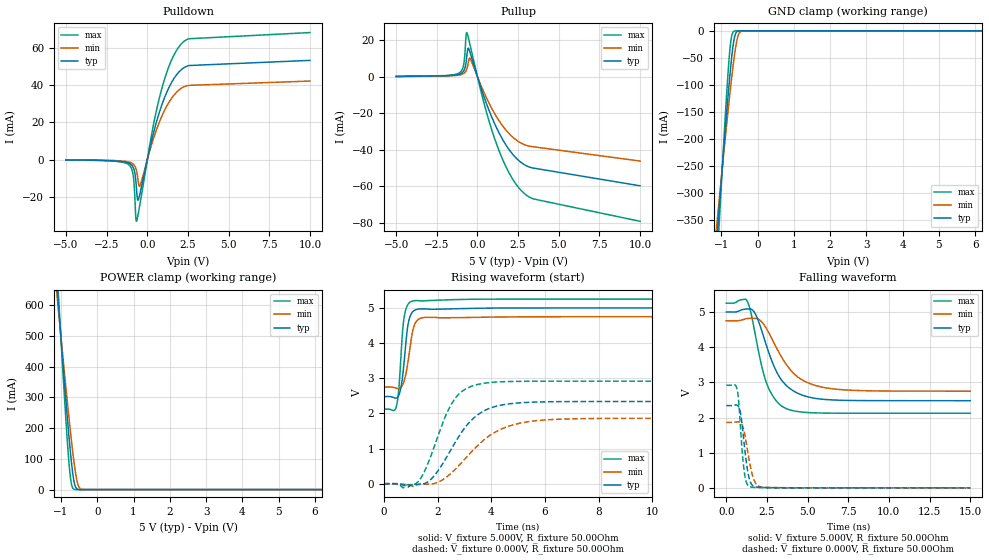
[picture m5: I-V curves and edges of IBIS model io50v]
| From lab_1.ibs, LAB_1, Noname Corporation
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[Model]   io50v
Model_type   I/O
Vinl = 800.000mV
Vinh = 2.000V
Vmeas = 1.400V
Vref = 1.400V
Cref = 5.000pF
Rref = 100.000Ohm
|   typ   min   max
C_comp   4.550pF   2.600pF   6.500pF
[Voltage Range]   5.000V   4.750V   5.250V
[Temperature Range]   50.0   100.0   0.0
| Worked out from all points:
|   slope of the pulldown table from 0 to 0.75 V, typ, clamps not added: 29.2 ohm
|   slope of the pullup table from 0 to 0.75 V, typ, clamps not added: 39 ohm
|   GND clamp passes 1 mA (typ) near -0.56 V on its own axis
|   POWER clamp passes 1 mA (typ) near -0.54 V on its own axis
|   falling waveform, V_fixture 5.000V, R_fixture 50.00Ohm: 20-80 % time 1.39ns typ, 1.73ns min, 1.02ns max; typ from 5 V to 2.48 V
|   rising waveform, V_fixture 5.000V, R_fixture 50.00Ohm: 20-80 % time 208ps typ, 249ps min, 173ps max; typ from 2.48 V to 5 V
|   rising waveform, V_fixture 0.000V, R_fixture 50.00Ohm: 20-80 % time 1.25ns typ, 1.59ns min, 928ps max; typ from 0 V to 2.34 V
|   falling waveform, V_fixture 0.000V, R_fixture 50.00Ohm: 20-80 % time 365ps typ, 451ps min, 288ps max; typ from 2.34 V to 0 V
[Pulldown]
|   Voltage   I(typ)   I(min)   I(max)
-5V       -207.1uA   -171.2uA   -248.8uA
-1.13V    -1.927mA   -1.335mA   -2.852mA
-860mV    -4.389mA   -2.516mA   -9.027mA
-710mV    -11.07mA   -4.645mA   -31mA
-670mV    -15.23mA   -5.818mA   -33.25mA
-575mV    -21.91mA   -10.83mA   -29.94mA
-445mV    -18.01mA   -13.98mA   -23.51mA
265mV     10.33mA    8.149mA    13.57mA
790mV     26.82mA    21.25mA    34.93mA
1.37V     39.56mA    31.41mA    51.13mA
2.085V    48.39mA    38.37mA    62.25mA
10V       53.44mA    42.3mA     68.42mA
[GND Clamp]
|   Voltage   I(typ)   I(min)   I(max)
-5V       -4.027A    -3.186A    -5.543A
-1.13V    -390.7mA   -361.3mA   -444.8mA
-1.1V     -363.9mA   -340.4mA   -407.5mA
-1.06V    -328.4mA   -312.7mA   -358mA
-885mV    -177.6mA   -194mA     -151.1mA
-785mV    -97.87mA   -129.4mA   -51.4mA
-720mV    -52.41mA   -89.83mA   -11.61mA
-640mV    -13.05mA   -46.25mA   -566.3uA
-575mV    -1.921mA   -19.1mA    -34.84uA
-520mV    -281.6uA   -5.975mA   -3.374uA
-345mV    -531.1nA   -33.11uA   -5.618nA
10V       0A         0A         0A
[Pullup]
|   Voltage   I(typ)   I(min)   I(max)
-5V       149.8uA    122.3uA    183uA
-1.115V   1.394mA    953.8uA    2.1mA
-845mV    3.186mA    1.803mA    6.687mA
-660mV    10.77mA    4.082mA    24.18mA
-570mV    15.65mA    7.386mA    21.72mA
-440mV    12.84mA    9.88mA     16.84mA
340mV     -9.372mA   -7.373mA   -12.34mA
1.035V    -25.27mA   -19.83mA   -33.28mA
1.84V     -38.53mA   -30.1mA    -50.84mA
2.665V    -46.8mA    -36.26mA   -62.03mA
3.52V     -50.13mA   -38.44mA   -67.04mA
10V       -59.71mA   -46.16mA   -79.14mA
[POWER Clamp]
|   Voltage   I(typ)   I(min)   I(max)
-5V       7.053A     5.738A     9.247A
-1.11V    658.2mA    629.4mA    708.7mA
-1.08V    611.4mA    591.9mA    646.6mA
-1.055V   572.7mA    560.8mA    595.2mA
-885mV    316.1mA    353.3mA    259.7mA
-780mV    169.5mA    231.1mA    84.52mA
-715mV    90.19mA    159.9mA    18.72mA
-640mV    24.84mA    86.19mA    1.081mA
-575mV    3.782mA    36.36mA    69.66uA
-525mV    671.4uA    13.17mA    8.338uA
-340mV    886.9nA    56.68uA    6.759nA
10V       0A         0A         0A
[Ramp]
R_load = 50.00Ohm
|   typ   min   max
dV/dt_r   1.403V/1.248ns   1.116V/1.589ns   1.750V/927.496ps
dV/dt_f   1.513V/1.385ns   1.201V/1.726ns   1.878V/1.020ns
[Falling Waveform]
V_fixture = 5.000V
V_fixture_min = 4.750V
V_fixture_max = 5.250V
R_fixture = 50.00Ohm
|   Time   V(typ)   V(min)   V(max)
0s        5V         4.75V      5.25V
1.275ns   5.086V     4.812V     5.318V
1.5ns     5.086V     4.82V      5.009V
1.8ns     4.935V     4.817V     4.318V
2.45ns    4.075V     4.545V     3.013V
3.1ns     3.294V     3.97V      2.46V
3.65ns    2.931V     3.536V     2.262V
4.65ns    2.64V      3.074V     2.155V
6.25ns    2.507V     2.834V     2.124V
15ns      2.478V     2.748V     2.121V
[Rising Waveform]
V_fixture = 5.000V
V_fixture_min = 4.750V
V_fixture_max = 5.250V
R_fixture = 50.00Ohm
|   Time   V(typ)   V(min)   V(max)
0s        2.478V     2.748V     2.121V
475ps     2.438V     2.712V     2.232V
550ps     2.507V     2.704V     2.654V
625ps     2.705V     2.732V     3.504V
750ps     3.451V     2.919V     4.723V
900ps     4.536V     3.488V     5.106V
1.05ns    4.87V      4.258V     5.192V
1.225ns   4.959V     4.634V     5.209V
1.55ns    4.972V     4.73V      5.204V
15ns      5V         4.75V      5.25V
[Rising Waveform]
V_fixture = 0.000V
V_fixture_min = 0.000V
V_fixture_max = 0.000V
R_fixture = 50.00Ohm
|   Time   V(typ)   V(min)   V(max)
0s        30.4nV     275.4nV    27.1nV
725ps     -39.43mV   -14.24mV   -118.1mV
1.275ns   -18.96mV   -21.14mV   58.71mV
1.825ns   183.8mV    -1.581mV   947.9mV
2.55ns    1.038V     331.3mV    2.307V
2.925ns   1.496V     626.4mV    2.636V
3.45ns    1.933V     1.053V     2.816V
4.375ns   2.236V     1.555V     2.899V
5.7ns     2.323V     1.794V     2.915V
15ns      2.339V     1.861V     2.916V
[Falling Waveform]
V_fixture = 0.000V
V_fixture_min = 0.000V
V_fixture_max = 0.000V
R_fixture = 50.00Ohm
|   Time   V(typ)   V(min)   V(max)
0s        2.339V     1.861V     2.916V
675ps     2.348V     1.876V     2.784V
775ps     2.293V     1.876V     2.392V
875ps     2.134V     1.855V     1.715V
1.1ns     1.259V     1.605V     479.5mV
1.25ns    679.3mV    1.221V     141.7mV
1.45ns    211.2mV    684.9mV    36.33mV
1.775ns   33.16mV    154mV      12.26mV
2.25ns    10.64mV    20.44mV    6.216mV
15ns      30.4nV     275.4nV    27.1nV
